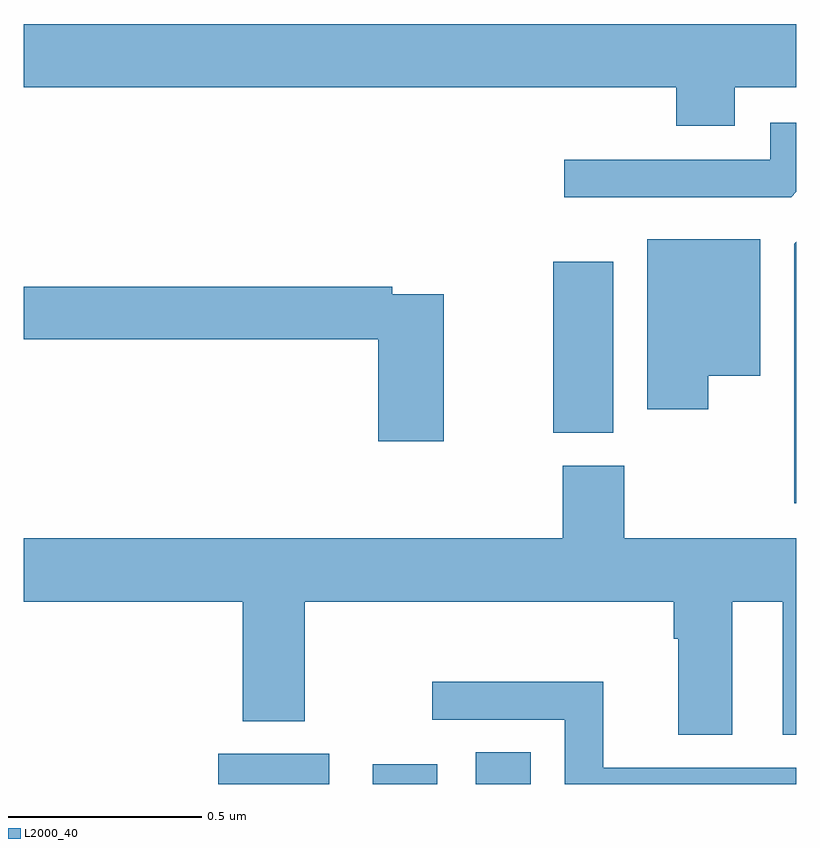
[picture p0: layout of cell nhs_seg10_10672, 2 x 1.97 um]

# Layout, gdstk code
import gdstk
lib = gdstk.Library(unit=1e-6, precision=1e-09)
def R(c, l, rs):  # rectangles x0, y0, x1, y1
    for r in rs: c.add(gdstk.rectangle(r[:2], r[2:], *l))
def P(c, l, *ps):  # polygons
    for p in ps: c.add(gdstk.Polygon(p, *l))
L2000_40 = (2000, 40)

nhs_seg10_10672 = lib.new_cell('nhs_seg10_10672')
R(nhs_seg10_10672, L2000_40, [(245.504,1310.5,245.791,1310.578), (245.903,1310.5,246.07,1310.551), (246.17,1310.5,246.313,1310.582), (246.371,1311.409,246.526,1311.853)])
P(nhs_seg10_10672, L2000_40, [(246.841,1312.304),(247,1312.304),(247,1312.468),(245,1312.468),(245,1312.304),(246.689,1312.304),(246.689,1312.205),(246.841,1312.205)],
  [(247,1312.033),(247,1312.212),(246.933,1312.212),(246.933,1312.116),(246.399,1312.116),(246.399,1312.02),(246.987,1312.02)],
  [(246.772,1311.557),(246.907,1311.557),(246.907,1311.91),(246.614,1311.91),(246.614,1311.471),(246.772,1311.471)],
  [(247,1311.904),(246.995,1311.899),(246.995,1311.227),(247,1311.227)],
  [(246.088,1311.768),(245.954,1311.768),(245.954,1311.788),(245,1311.788),(245,1311.652),(245.918,1311.652),(245.918,1311.387),(246.088,1311.387)],
  [(246.835,1310.972),(246.965,1310.972),(246.965,1310.627),(247,1310.627),(247,1311.136),(246.555,1311.136),(246.555,1311.324),(246.395,1311.324),(246.395,1311.136),(245,1311.136),(245,1310.972),(245.567,1310.972),(245.567,1310.663),(245.727,1310.663),(245.727,1310.972),(246.683,1310.972),(246.683,1310.876),(246.695,1310.876),(246.695,1310.627),(246.835,1310.627)],
  [(247,1310.542),(246.5,1310.542),(246.5,1310.765),(246.057,1310.765),(246.057,1310.667),(246.401,1310.667),(246.401,1310.5),(247,1310.5)])

lib.write_gds('nhs_seg10_10672.gds')
